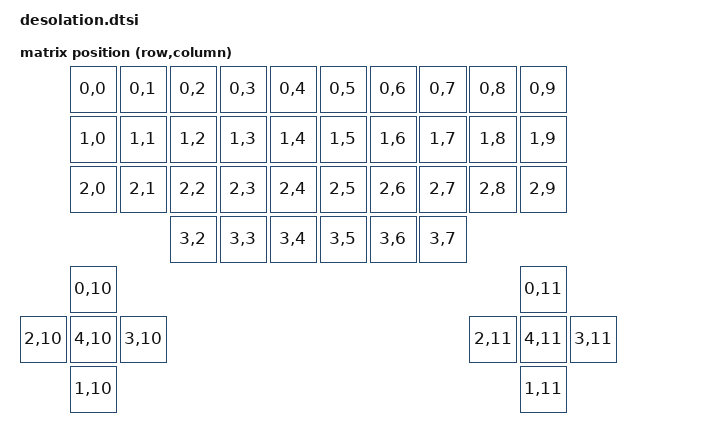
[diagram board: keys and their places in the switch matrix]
/*
 * Copyright (c) 2025 miketronic
 * SPDX-License-Identifier: MIT
 * Desolation v4
 */

#include <dt-bindings/zmk/matrix_transform.h>
#include <physical_layouts.dtsi>
#include <input/processors.dtsi>

/ {
	chosen {
		zmk,physical-layout = &layout_desolation;
	};
   
	default_transform: keymap_transform_0 {
		compatible = "zmk,matrix-transform";
		columns = <12>;
		rows = <5>;
		
        map = <
            RC(0,0)  RC(0,1)  RC(0,2)  RC(0,3)  RC(0,4)     RC(0,5)  RC(0,6)  RC(0,7)  RC(0,8)  RC(0,9)
            RC(1,0)  RC(1,1)  RC(1,2)  RC(1,3)  RC(1,4)     RC(1,5)  RC(1,6)  RC(1,7)  RC(1,8)  RC(1,9)
            RC(2,0)  RC(2,1)  RC(2,2)  RC(2,3)  RC(2,4)     RC(2,5)  RC(2,6)  RC(2,7)  RC(2,8)  RC(2,9)
                              RC(3,2)  RC(3,3)  RC(3,4)     RC(3,5)  RC(3,6)  RC(3,7)  
            RC(0,10)                                                                            RC(0,11)
   RC(2,10) RC(4,10) RC(3,10)                                                          RC(2,11) RC(4,11) RC(3,11)
            RC(1,10)                                                                            RC(1,11)
        >;
	};

	layout_desolation: layout_desolation {
		compatible = "zmk,physical-layout";
		display-name = "desolation";
		transform = <&default_transform>;
		kscan = <&default_kscan>;
		
        keys  //                     w   h    x    y     rot    rx    ry
            = <&key_physical_attrs 100 100    0    0       0     0     0>
            , <&key_physical_attrs 100 100  100    0       0     0     0>
            , <&key_physical_attrs 100 100  200    0       0     0     0>
            , <&key_physical_attrs 100 100  300    0       0     0     0>
            , <&key_physical_attrs 100 100  400    0       0     0     0>
            , <&key_physical_attrs 100 100  500    0       0     0     0>
            , <&key_physical_attrs 100 100  600    0       0     0     0>
            , <&key_physical_attrs 100 100  700    0       0     0     0>
            , <&key_physical_attrs 100 100  800    0       0     0     0>
            , <&key_physical_attrs 100 100  900    0       0     0     0>
            , <&key_physical_attrs 100 100 1000    0       0     0     0>
            , <&key_physical_attrs 100 100 1100    0       0     0     0>
            , <&key_physical_attrs 100 100    0  100       0     0     0>
            , <&key_physical_attrs 100 100  100  100       0     0     0>
            , <&key_physical_attrs 100 100  200  100       0     0     0>
            , <&key_physical_attrs 100 100  300  100       0     0     0>
            , <&key_physical_attrs 100 100  400  100       0     0     0>
            , <&key_physical_attrs 100 100  500  100       0     0     0>
            , <&key_physical_attrs 100 100  600  100       0     0     0>
            , <&key_physical_attrs 100 100  700  100       0     0     0>
            , <&key_physical_attrs 100 100  800  100       0     0     0>
            , <&key_physical_attrs 100 100  900  100       0     0     0>
            , <&key_physical_attrs 100 100 1000  100       0     0     0>
            , <&key_physical_attrs 100 100 1100  100       0     0     0>
            , <&key_physical_attrs 100 100    0  200       0     0     0>
            , <&key_physical_attrs 100 100  100  200       0     0     0>
            , <&key_physical_attrs 100 100  200  200       0     0     0>
            , <&key_physical_attrs 100 100  300  200       0     0     0>
            , <&key_physical_attrs 100 100  400  200       0     0     0>
            , <&key_physical_attrs 100 100  500  200       0     0     0>
            , <&key_physical_attrs 100 100  600  200       0     0     0>
            , <&key_physical_attrs 100 100  700  200       0     0     0>
            , <&key_physical_attrs 100 100  800  200       0     0     0>
            , <&key_physical_attrs 100 100  900  200       0     0     0>
            , <&key_physical_attrs 100 100 1000  200       0     0     0>
            , <&key_physical_attrs 100 100 1100  200       0     0     0>
            , <&key_physical_attrs 100 100  100  300       0     0     0>
            , <&key_physical_attrs 100 100  200  300       0     0     0>
            , <&key_physical_attrs 100 100  300  300       0     0     0>
            , <&key_physical_attrs 100 100  400  300       0     0     0>
            , <&key_physical_attrs 100 100  500  300       0     0     0>
            , <&key_physical_attrs 100 100  600  300       0     0     0>
            , <&key_physical_attrs 100 100  700  300       0     0     0>
            , <&key_physical_attrs 100 100  800  300       0     0     0>
            ;
    };

    position_map {
        compatible = "zmk,physical-layout-position-map";

        layout_desolation {
            physical-layout = <&layout_desolation>;
            positions
	    = < 0  1  2  3  4  5  6  7  8  9  >
	    , < 10 11 12 13 14 15 16 17 18 19 >
	    , < 20 21 22 23 24 25 26 27 28 29 >
	    , <       30 31 32 33 34 35       >
      , <    36                   37    >
      , < 38 39 40             41 42 43 >
      , <    44                   45    >
	    ;
        };
    };

   
};
